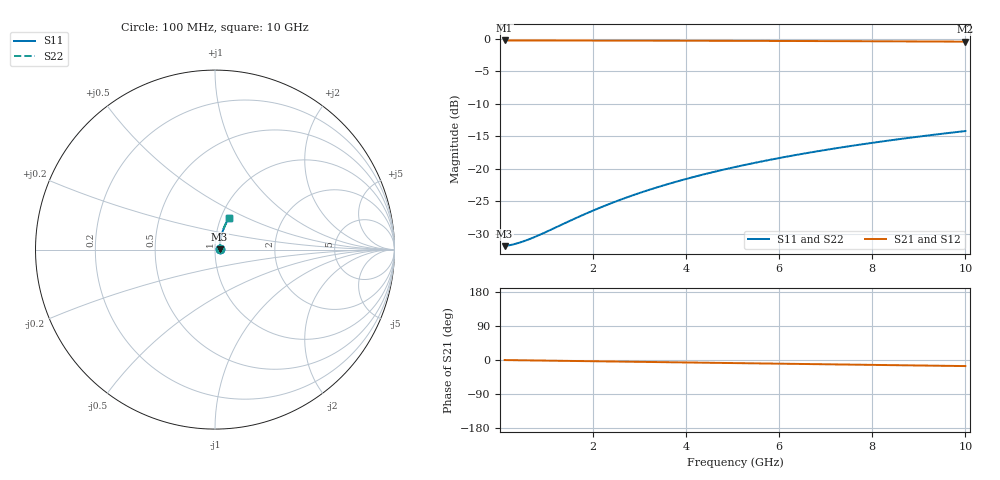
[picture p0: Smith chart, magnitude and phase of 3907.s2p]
# Hz S RI R 50.00
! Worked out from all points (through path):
!   100 points, 100 MHz to 10 GHz, reference 50 ohm
!   highest |S21| = -0.22 dB at 100 MHz (marker M1); lowest = -0.4 dB at 10 GHz (marker M2)
!   group delay of S21, straight-line fit = 4.46 ps
!   lowest |S11| = -31.9 dB at 100 MHz (marker M3), VSWR 1.05, Z = 52.6 + j0.202 ohm
!   |S11| at or under -10 dB: start of sweep to end of sweep
!   |S22| runs from -31.9 to -14.2 dB; largest |S21 - S12| = 0
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1e8  0.0252 0.00192  0.9748 -0.00276  0.9748 -0.00276  0.0252 0.00192
3e8  0.0256 0.00574  0.9744 -0.00829  0.9744 -0.00829  0.0256 0.00574
4e8  0.0257 0.00765  0.9743 -0.0111  0.9743 -0.0111  0.0257 0.00765
5e8  0.0258 0.00957  0.9742 -0.0138  0.9742 -0.0138  0.0258 0.00957
7e8  0.0261 0.0134  0.9739 -0.0193  0.9739 -0.0193  0.0261 0.0134
1e9  0.0265 0.0191  0.9734 -0.0276  0.9734 -0.0276  0.0265 0.0191
1.5e9  0.0274 0.0286  0.9725 -0.0414  0.9725 -0.0414  0.0274 0.0286
1.8e9  0.028 0.0343  0.9718 -0.0496  0.9718 -0.0496  0.028 0.0343
2.2e9  0.029 0.0419  0.9708 -0.0606  0.9708 -0.0606  0.029 0.0419
2.6e9  0.0302 0.0494  0.9696 -0.0715  0.9696 -0.0715  0.0302 0.0494
3e9  0.0315 0.0569  0.9682 -0.0824  0.9682 -0.0824  0.0315 0.0569
3.4e9  0.0329 0.0644  0.9666 -0.0933  0.9666 -0.0933  0.0329 0.0644
3.8e9  0.0345 0.0718  0.9649 -0.1041  0.9649 -0.1041  0.0345 0.0718
4.2e9  0.0363 0.0792  0.963 -0.1149  0.963 -0.1149  0.0363 0.0792
4.6e9  0.0383 0.0865  0.9609 -0.1256  0.9609 -0.1256  0.0383 0.0865
5.1e9  0.0409 0.0956  0.9581 -0.139  0.9581 -0.139  0.0409 0.0956
5.9e9  0.0457 0.11  0.953 -0.1601  0.953 -0.1601  0.0457 0.11
6.7e9  0.051 0.124  0.9473 -0.181  0.9473 -0.181  0.051 0.124
7.5e9  0.057 0.1378  0.9409 -0.2016  0.9409 -0.2016  0.057 0.1378
8.4e9  0.0644 0.1528  0.933 -0.2243  0.933 -0.2243  0.0644 0.1528
9.2e9  0.0715 0.1658  0.9253 -0.2442  0.9253 -0.2442  0.0715 0.1658
1e10  0.0792 0.1784  0.917 -0.2636  0.917 -0.2636  0.0792 0.1784
